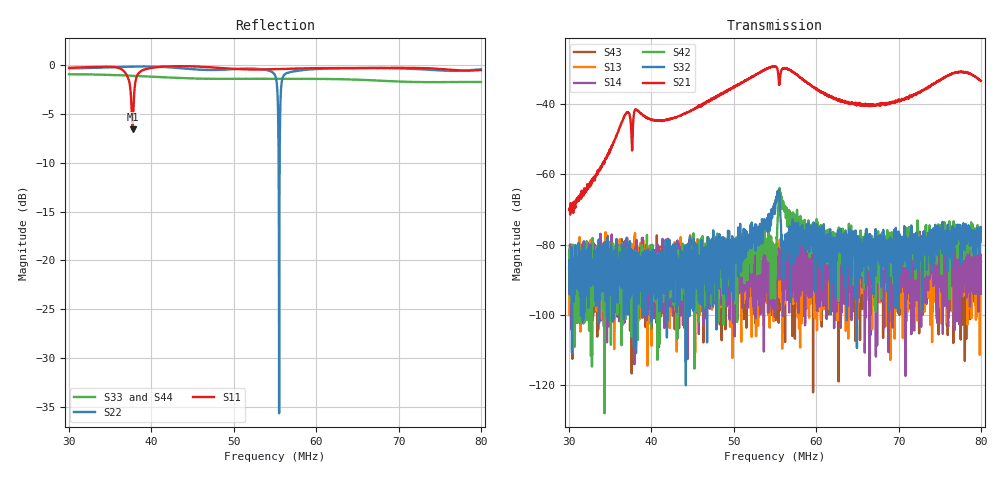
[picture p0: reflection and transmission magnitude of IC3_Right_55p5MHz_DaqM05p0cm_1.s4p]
#  HZ  S  DB  R  50.00
! Rohde & Schwarz Vector Network Analyzer
! Rohde-Schwarz,ZNB8-4Port,1311601044102961,2.82
! Created: UTC 2/13/2019, 1:48:59 PM
! freq[Hz]  db:S11  ang:S11  db:S12  ang:S12  db:S13  ang:S13  db:S14  ang:S14
!  db:S21  ang:S21  db:S22  ang:S22  db:S23  ang:S23  db:S24  ang:S24
!  db:S31  ang:S31  db:S32  ang:S32  db:S33  ang:S33  db:S34  ang:S34
!  db:S41  ang:S41  db:S42  ang:S42  db:S43  ang:S43  db:S44  ang:S44
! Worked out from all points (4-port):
!   2001 points, 30 MHz to 80 MHz, reference 50 ohm
!   strongest paths, dB at 30 MHz, 42.5 MHz, 55 MHz, 67.5 MHz, 80 MHz:
!     S21: -70.1, -44.0, -29.2, -40.1, -33.2
!     S32: -86.3, -90.6, -70.6, -80.2, -75.0
!     S42: -86.9, -86.6, -95.4, -80.3, -79.1
!     S14: -84.9, -89.5, -85.8, -87.6, -94.0
!     S13: -87.5, -81.0, -85.1, -86.3, -91.8
!     S43: -92.0, -85.0, -94.0, -87.8, -84.8
!   lowest |S11| = -6.6 dB at 37.7 MHz (marker M1), VSWR 2.77, Z = 109 - j51.6 ohm
!   |S11| at or under -10 dB: nowhere
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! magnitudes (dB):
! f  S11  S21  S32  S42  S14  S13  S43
! 30 MHz  -0.3  -70.1  -86.3  -86.9  -84.9  -87.5  -92.0
! 37.7 MHz  -6.6  -50.2  -83.2  -83.5  -84.6  -85.3  -92.5
! 51.05 MHz  -0.4  -33.7  -84.7  -85.5  -85.2  -93.8  -96.8
! 55.33 MHz  -0.4  -30.2  -66.0  -72.4  -85.8  -95.0  -87.2
! 56.05 MHz  -0.4  -29.7  -89.9  -69.0  -85.9  -92.8  -87.9
! 65.6 MHz  -0.3  -40.0  -82.0  -81.4  -92.1  -88.9  -98.4
! 80 MHz  -0.5  -33.2  -75.0  -79.1  -94.0  -91.8  -84.8
